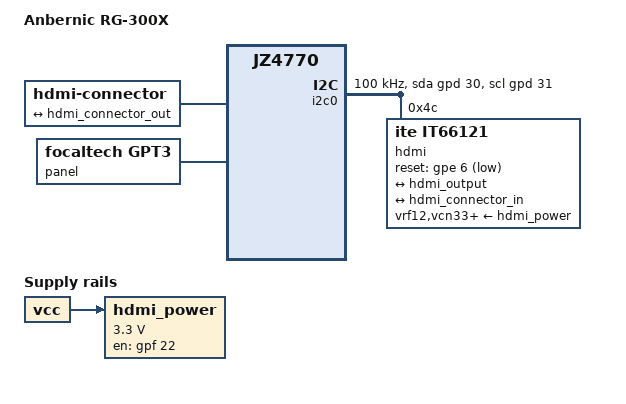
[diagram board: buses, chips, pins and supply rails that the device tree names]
// SPDX-License-Identifier: GPL-2.0
/dts-v1/;

#include "rg280m.dts"

#include <dt-bindings/interrupt-controller/irq.h>

/ {
	compatible = "ylm,rg300x", "ingenic,jz4770";
	model = "Anbernic RG-300X";

	hdmi_power: regulator@3 {
		compatible = "regulator-fixed";
		regulator-name = "hdmi_pwr";
		gpio = <&gpf 22 0>;
		enable-active-high;

		regulator-min-microvolt = <3300000>;
		regulator-max-microvolt = <3300000>;
		vin-supply = <&vcc>;
	};

	hdmi-connector {
		compatible = "hdmi-connector";
		label = "hdmi";

		type = "c";

		port {
			hdmi_connector_in: endpoint {
				remote-endpoint = <&hdmi_connector_out>;
			};
		};
	};
};

&panel {
	compatible = "focaltech,gpt3";
};

&pins_lcd {
	groups = "lcd-24bit";
};

&i2c0 {
	status = "okay";
	compatible = "i2c-gpio";
	sda-gpios = <&gpd 30 GPIO_ACTIVE_HIGH>;
	scl-gpios = <&gpd 31 GPIO_ACTIVE_HIGH>;

	clock-frequency = <100000>; /* 100 kHz */

	hdmi@4c {
		compatible = "ite,it66121";
		reg = <0x4c>;

		/* The system hangs if this is enabled */
		//interrupt-parent = <&gpf>;
		//interrupts = <12 IRQ_TYPE_EDGE_FALLING>;
		//interrupt-names = "irq";

		reset-gpios = <&gpe 6 GPIO_ACTIVE_LOW>;

		pinctrl-names = "default";
		pinctrl-0 = <&pins_it6610>;

		vrf12-supply = <&hdmi_power>;
		vcn33-supply = <&hdmi_power>;
		vcn18-supply = <&hdmi_power>;

		ports {
			#address-cells = <1>;
			#size-cells = <0>;

			port@0 {
				reg = <0>;

				it66121_input: endpoint {
					bus-width = <24>;
					remote-endpoint = <&hdmi_output>;
				};
			};

			port@1 {
				reg = <1>;

				hdmi_connector_out: endpoint {
					remote-endpoint = <&hdmi_connector_in>;
				};
			};
		};
	};
};

&hdmi_output {
	remote-endpoint = <&it66121_input>;
};

&hdmi_input {
	remote-endpoint = <&hdmi_input>;
};

&joysticks {
	status = "disabled";
};
